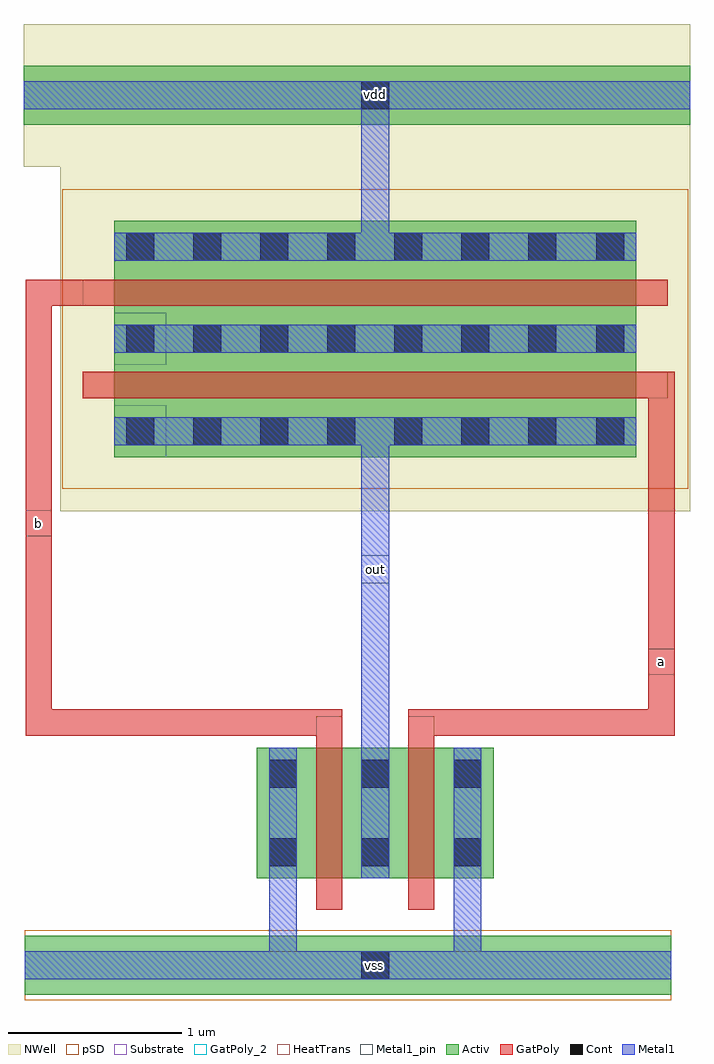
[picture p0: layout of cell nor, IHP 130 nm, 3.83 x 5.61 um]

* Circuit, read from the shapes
.subckt nor a b out vdd vss
XM1 out b vss vss sg13_lv_nmos w=0.75u l=0.15u
XM2 vss a out vss sg13_lv_nmos w=0.75u l=0.15u
XM3 n1 a out vdd sg13_lv_pmos w=3u l=0.15u
XM4 vdd b n1 vdd sg13_lv_pmos w=3u l=0.15u
.ends

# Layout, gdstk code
from math import pi, radians
import gdstk
lib = gdstk.Library(unit=1e-6, precision=5e-09)
def R(c, l, rs):  # rectangles x0, y0, x1, y1
    for r in rs: c.add(gdstk.rectangle(r[:2], r[2:], *l))
def A(c, l, x, y, w, h, nx, ny, dx, dy):  # array of equal rectangles
    R(c, l, [(x+i*dx, y+j*dy, x+i*dx+w, y+j*dy+h) for i in range(nx) for j in range(ny)])
Activ = (1, 0)
GatPoly = (5, 0)
GatPoly_2 = (5, 2)
Cont = (6, 0)
Metal1 = (8, 0)
Metal1_pin = (8, 2)
pSD = (14, 0)
NWell = (31, 0)
Substrate = (40, 0)
HeatTrans = (51, 0)

pmos_1 = lib.new_cell('pmos$1')
R(pmos_1, Activ, [(0,0,0.3,0.3), (0,0,0.83,3), (0.53,0,0.83,0.3)])
R(pmos_1, GatPoly, [(0.34,-0.18,0.49,3.18), (0.34,-0.18,0.49,3.18)])
A(pmos_1, Cont, 0.07, 0.07, 0.16, 0.16, 1, 7, 0, 0.385)
A(pmos_1, Cont, 0.6, 0.07, 0.16, 0.16, 1, 7, 0, 0.385)
R(pmos_1, Cont, [(0.07,2.77,0.23,2.93), (0.6,2.77,0.76,2.93)])
R(pmos_1, Metal1, [(0.07,0,0.23,3), (0.07,0,0.23,3), (0.6,0,0.76,3), (0.6,0,0.76,3)])
R(pmos_1, pSD, [(-0.18,-0.3,1.01,3.3)])
R(pmos_1, NWell, [(-0.31,-0.31,1.14,3.31)])
R(pmos_1, Substrate, [(0.53,0,0.83,0.3)])
R(pmos_1, HeatTrans, [(0.34,-0.18,0.49,3.18)])
pmos_1.add(gdstk.Label('pmos', (0.415,1.5), layer=63, texttype=0))
pmos_1.add(gdstk.Label('pmos', (0.415,1.5), layer=51, texttype=0))

nmos = lib.new_cell('nmos')
R(nmos, Activ, [(0,0,0.3,0.3), (0,0,0.83,0.75), (0.53,0,0.83,0.3)])
R(nmos, GatPoly, [(0.34,-0.18,0.49,0.93)])
R(nmos, GatPoly_2, [(0.34,-0.18,0.49,0.93)])
R(nmos, Cont, [(0.07,0.07,0.23,0.23), (0.6,0.07,0.76,0.23), (0.07,0.52,0.23,0.68), (0.6,0.52,0.76,0.68)])
R(nmos, Metal1, [(0.07,0,0.23,0.75), (0.6,0,0.76,0.75)])
R(nmos, Metal1_pin, [(0.07,0,0.23,0.75), (0.6,0,0.76,0.75)])
R(nmos, HeatTrans, [(0.34,-0.18,0.49,0.93)])
nmos.add(gdstk.Label('nmos', (0.415,0.375), layer=63, texttype=0))
nmos.add(gdstk.Label('nmos', (0.415,0.375), layer=51, texttype=0))

m1_cont1_pmos = lib.new_cell('M1_Cont1_PMOS')
R(m1_cont1_pmos, Activ, [(-2.015,-0.175,1.815,0.165)])
R(m1_cont1_pmos, Cont, [(-0.075,-0.085,0.085,0.075)])
R(m1_cont1_pmos, Metal1, [(-2.015,-0.085,1.815,0.075)])
R(m1_cont1_pmos, Metal1_pin, [(-2.015,-0.085,1.815,0.075)])
R(m1_cont1_pmos, NWell, [(-2.015,-0.415,1.815,0.405)])

m1_bulkcont1_pmos = lib.new_cell('M1_BulkCont1_PMOS')
r = gdstk.Reference(m1_cont1_pmos, (-0.015,-0.015)); r.repetition = gdstk.Repetition(1, 1, v1=(0,0), v2=(0,0)); m1_bulkcont1_pmos.add(r)

m1_cont1_nmos = lib.new_cell('M1_Cont1_NMOS')
R(m1_cont1_nmos, Activ, [(-2.005,-0.175,1.71,0.165)])
R(m1_cont1_nmos, Cont, [(-0.07,-0.085,0.09,0.075)])
R(m1_cont1_nmos, Metal1, [(-2.005,-0.085,1.71,0.075)])
R(m1_cont1_nmos, Metal1_pin, [(-2.005,-0.085,1.71,0.075)])
R(m1_cont1_nmos, pSD, [(-2.005,-0.205,1.71,0.195)])

m1_bulkcont1_nmos = lib.new_cell('M1_BulkCont1_NMOS')
r = gdstk.Reference(m1_cont1_nmos, (0.005,0.01)); r.repetition = gdstk.Repetition(1, 1, v1=(0,0), v2=(0,0)); m1_bulkcont1_nmos.add(r)

nor = lib.new_cell('nor')
R(nor, GatPoly, [(-2.01,-1.285,-1.86,1.335), (-2.01,-1.285,-0.19,-1.135), (0.19,-1.285,1.72,-1.135), (1.57,-1.285,1.72,0.805), (-2.01,1.185,-1.57,1.335)])
R(nor, GatPoly_2, [(1.57,-0.935,1.72,-0.785), (-2.01,-0.14,-1.86,0.01)])
R(nor, Cont, [(-0.08,2.315,0.08,2.475)])
R(nor, Metal1, [(-0.08,-1.585,0.08,0.545)])
R(nor, Metal1_pin, [(-0.08,-0.41,0.08,-0.25)])
nor.add(gdstk.FlexPath([(-0.53,-2.035),(-0.53,-2.605),(0.53,-2.605),(0.53,-2.04)], 0.16, ends="flush", simple_path=True, layer=8, datatype=0))  # Metal1
nor.add(gdstk.FlexPath([(0,2.475),(0,1.455),(0,1.445)], 0.16, ends="flush", simple_path=True, layer=8, datatype=0))  # Metal1
nor.add(gdstk.Reference(pmos_1, (-1.5,1.675), rotation=3*pi/2))
nor.add(gdstk.Reference(pmos_1, (-1.5,1.145), rotation=3*pi/2))
nor.add(gdstk.Reference(nmos, (-0.68,-2.105)))
nor.add(gdstk.Reference(nmos, (-0.15,-2.105)))
nor.add(gdstk.Reference(m1_bulkcont1_pmos, (0.01,2.415)))
nor.add(gdstk.Reference(m1_bulkcont1_nmos, (-0.015,-2.61)))
nor.add(gdstk.Label('vdd', (0,2.4), layer=8, texttype=2))
nor.add(gdstk.Label('vss', (-0.005,-2.605), layer=8, texttype=2))
nor.add(gdstk.Label('out', (0,-0.33), layer=8, texttype=2))
nor.add(gdstk.Label('b', (-1.935,-0.065), layer=5, texttype=2))
nor.add(gdstk.Label('a', (1.645,-0.86), layer=5, texttype=2))

lib.write_gds('nor.gds')
